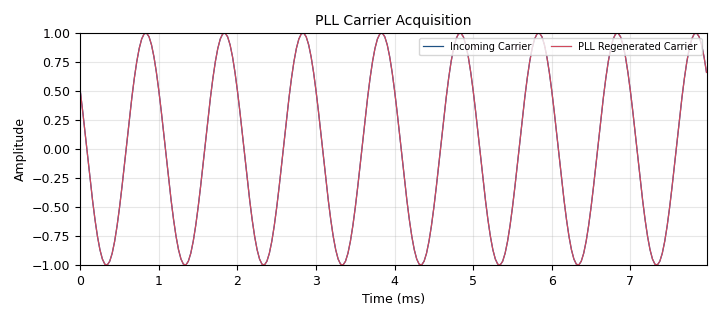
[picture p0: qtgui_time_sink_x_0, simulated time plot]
options:
  parameters:
    generate_options: qt_gui
    id: exp1
    output_language: python
    title: PLL Intuition and Carrier Tracking
  states: {}

blocks:
- name: carrier_freq
  id: variable
  parameters:
    value: '1000'
  states: {}
- name: loop_bw
  id: variable
  parameters:
    value: math.pi/1000
  states: {}
- name: phase_offset
  id: variable
  parameters:
    value: '60'
  states: {}
- name: samp_rate
  id: variable
  parameters:
    value: '32000'
  states: {}
- name: analog_pll_refout_cc_0
  id: analog_pll_refout_cc
  parameters:
    max_freq: 2*math.pi*1200/samp_rate
    min_freq: 2*math.pi*800/samp_rate
    w: loop_bw
  states: {}
- name: analog_sig_source_x_0
  id: analog_sig_source_x
  parameters:
    amp: '1'
    freq: '1000'
    offset: '0'
    phase: math.radians(phase_offset)
    samp_rate: samp_rate
    type: complex
    waveform: analog.GR_COS_WAVE
  states: {}
- name: blocks_complex_to_real_0
  id: blocks_complex_to_real
  parameters: {}
  states: {}
- name: blocks_complex_to_real_0_0
  id: blocks_complex_to_real
  parameters: {}
  states: {}
- name: import_0
  id: import
  parameters:
    imports: import math
  states: {}
- name: qtgui_time_sink_x_0
  id: qtgui_time_sink_x
  parameters:
    grid: 'True'
    label1: Incoming Carrier
    label2: PLL Regenerated Carrier
    name: PLL Carrier Acquisition
    nconnections: '2'
    size: '256'
    srate: samp_rate
    type: float
  states: {}

connections:
- [analog_pll_refout_cc_0, '0', blocks_complex_to_real_0_0, '0']
- [analog_sig_source_x_0, '0', analog_pll_refout_cc_0, '0']
- [analog_sig_source_x_0, '0', blocks_complex_to_real_0, '0']
- [blocks_complex_to_real_0, '0', qtgui_time_sink_x_0, '0']
- [blocks_complex_to_real_0_0, '0', qtgui_time_sink_x_0, '1']

metadata:
  file_format: 1
  grc_version: 3.10.12.0
